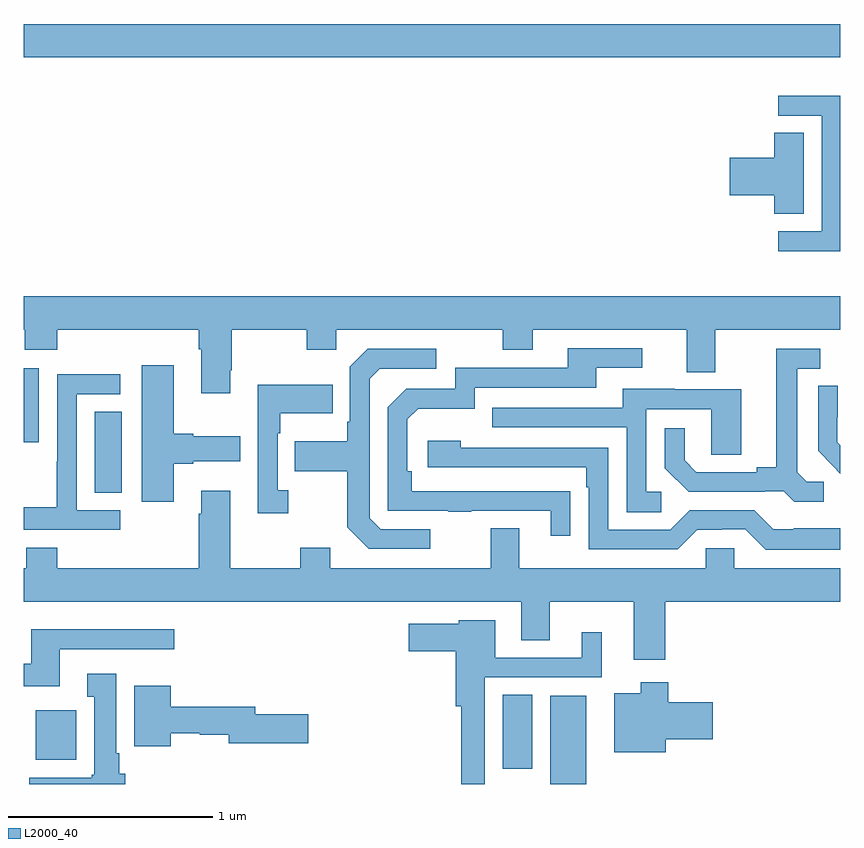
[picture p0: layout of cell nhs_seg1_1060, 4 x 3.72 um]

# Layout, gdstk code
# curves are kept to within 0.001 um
import gdstk
lib = gdstk.Library(unit=1e-6, precision=1e-09)
def R(c, l, rs):  # rectangles x0, y0, x1, y1
    for r in rs: c.add(gdstk.rectangle(r[:2], r[2:], *l))
def P(c, l, *ps):  # polygons
    for p in ps: c.add(gdstk.Polygon(p, *l))
L2000_40 = (2000, 40)

nhs_seg1_1060 = lib.new_cell('nhs_seg1_1060')
R(nhs_seg1_1060, L2000_40, [(171.578,524.199,171.754,524.632), (171.347,524.274,171.49,524.636), (169.061,524.318,169.258,524.56), (169.349,525.625,169.48,526.022), (169,525.873,169.075,526.234), (169,527.756,173,527.92)])
P(nhs_seg1_1060, L2000_40, [(173,527.568),(172.695,527.568),(172.695,527.472),(172.908,527.472),(172.908,526.905),(172.695,526.905),(172.695,526.807),(173,526.807)],
  [(172.819,527.387),(172.676,527.387),(172.676,527.264),(172.458,527.264),(172.458,527.081),(172.676,527.081),(172.676,526.99),(172.819,526.99)],
  [(170.011,526.225),(170.019,526.225),(170.019,526.424),(170.386,526.424),(170.386,526.325),(170.532,526.325),(170.532,526.424),(171.346,526.424),(171.346,526.325),(171.493,526.325),(171.493,526.424),(172.247,526.424),(172.247,526.216),(172.387,526.216),(172.387,526.424),(173,526.424),(173,526.588),(169,526.588),(169,526.424),(169.006,526.424),(169.006,526.325),(169.166,526.325),(169.166,526.424),(169.859,526.424),(169.859,526.328),(169.871,526.328),(169.871,526.113),(170.011,526.113)],
  [(171.677,525.632),(170.9,525.633),(170.9,525.73),(170.88,525.73),(170.88,525.984),(170.933,526.037),(171.21,526.037),(171.21,526.14),(171.805,526.14),(171.805,526.236),(172.03,526.236),(172.03,526.332),(171.665,526.332),(171.665,526.236),(171.114,526.236),(171.114,526.134),(170.874,526.134),(170.784,526.044),(170.784,525.537),(171.079,525.537),(171.079,525.532),(171.191,525.532),(171.191,525.537),(171.581,525.537),(171.581,525.414),(171.677,525.414)],
  [(172.918,525.678),(172.836,525.678),(172.789,525.725),(172.789,526.233),(172.9,526.233),(172.9,526.329),(172.685,526.329),(172.685,525.749),(172.589,525.749),(172.589,525.726),(172.294,525.726),(172.237,525.783),(172.237,525.94),(172.14,525.94),(172.14,525.746),(172.256,525.63),(172.628,525.63),(172.628,525.633),(172.722,525.633),(172.774,525.581),(172.918,525.581)],
  [(170.992,525.447),(170.748,525.447),(170.694,525.501),(170.694,526.182),(170.745,526.233),(171.022,526.233),(171.022,526.329),(170.685,526.329),(170.598,526.242),(170.598,525.973),(170.586,525.973),(170.586,525.877),(170.329,525.877),(170.329,525.73),(170.586,525.73),(170.586,525.457),(170.691,525.351),(170.992,525.351)],
  [(169.735,525.767),(169.831,525.767),(169.831,525.779),(170.062,525.779),(170.062,525.901),(169.831,525.901),(169.831,525.914),(169.735,525.914),(169.735,526.249),(169.58,526.249),(169.58,525.582),(169.735,525.582)],
  [(169.474,525.54),(169.26,525.54),(169.26,526.107),(169.474,526.107),(169.474,526.206),(169.164,526.206),(169.164,525.776),(169.162,525.776),(169.162,525.553),(169,525.553),(169,525.444),(169.474,525.444)],
  [(170.296,525.638),(170.244,525.638),(170.244,525.917),(170.257,525.917),(170.257,526.013),(170.513,526.013),(170.513,526.153),(170.148,526.153),(170.148,525.525),(170.296,525.525)],
  [(173,525.857),(172.985,525.872),(172.985,525.994),(172.986,525.994),(172.986,526.148),(172.89,526.148),(172.89,525.83),(172.963,525.757),(172.962,525.756),(173,525.718)],
  [(172.123,525.63),(172.05,525.63),(172.05,526.035),(172.368,526.035),(172.368,525.811),(172.513,525.811),(172.513,526.131),(172.189,526.131),(172.189,526.135),(171.935,526.135),(171.935,526.041),(171.295,526.041),(171.295,525.945),(171.954,525.945),(171.954,525.529),(172.123,525.529)],
  [(173,525.451),(172.771,525.451),(172.771,525.447),(172.671,525.447),(172.578,525.54),(172.263,525.54),(172.167,525.444),(171.864,525.444),(171.864,525.846),(171.14,525.846),(171.14,525.88),(170.979,525.88),(170.979,525.75),(171.755,525.75),(171.755,525.653),(171.768,525.653),(171.768,525.348),(172.203,525.348),(172.299,525.444),(172.418,525.444),(172.418,525.447),(172.533,525.447),(172.633,525.347),(173,525.347)],
  [(172.341,525.354),(172.341,525.256),(171.427,525.256),(171.427,525.451),(171.287,525.451),(171.287,525.256),(170.503,525.256),(170.503,525.355),(170.356,525.355),(170.356,525.256),(170.011,525.256),(170.011,525.634),(169.871,525.634),(169.871,525.521),(169.859,525.521),(169.859,525.256),(169.166,525.256),(169.166,525.355),(169.013,525.355),(169.013,525.256),(169,525.256),(169,525.092),(171.437,525.092),(171.437,524.902),(171.577,524.902),(171.577,525.092),(171.989,525.092),(171.989,524.808),(172.142,524.808),(172.142,525.092),(173,525.092),(173,525.256),(172.479,525.256),(172.479,525.354)],
  [(171.258,524.721),(171.832,524.721),(171.832,524.941),(171.734,524.941),(171.734,524.817),(171.31,524.817),(171.31,525.001),(171.132,525.001),(171.132,524.983),(170.886,524.983),(170.886,524.849),(171.116,524.849),(171.116,524.579),(171.142,524.579),(171.142,524.199),(171.258,524.199)],
  [(169.177,524.859),(169.738,524.859),(169.738,524.956),(169.037,524.956),(169.037,524.788),(169,524.788),(169,524.678),(169.177,524.678)],
  [(169.498,524.25),(169.468,524.25),(169.468,524.35),(169.453,524.35),(169.453,524.74),(169.313,524.74),(169.313,524.627),(169.346,524.627),(169.346,524.244),(169.333,524.244),(169.333,524.23),(169.029,524.23),(169.029,524.199),(169.498,524.199)],
  [(172.144,524.417),(172.375,524.417),(172.375,524.6),(172.157,524.6),(172.157,524.698),(172.022,524.698),(172.022,524.644),(171.893,524.644),(171.893,524.354),(172.144,524.354)],
  [(169.72,524.448),(169.863,524.448),(169.863,524.44),(170.006,524.44),(170.006,524.398),(170.395,524.398),(170.395,524.54),(170.134,524.54),(170.134,524.576),(169.72,524.576),(169.72,524.68),(169.541,524.68),(169.541,524.384),(169.72,524.384)])

lib.write_gds('nhs_seg1_1060.gds')
